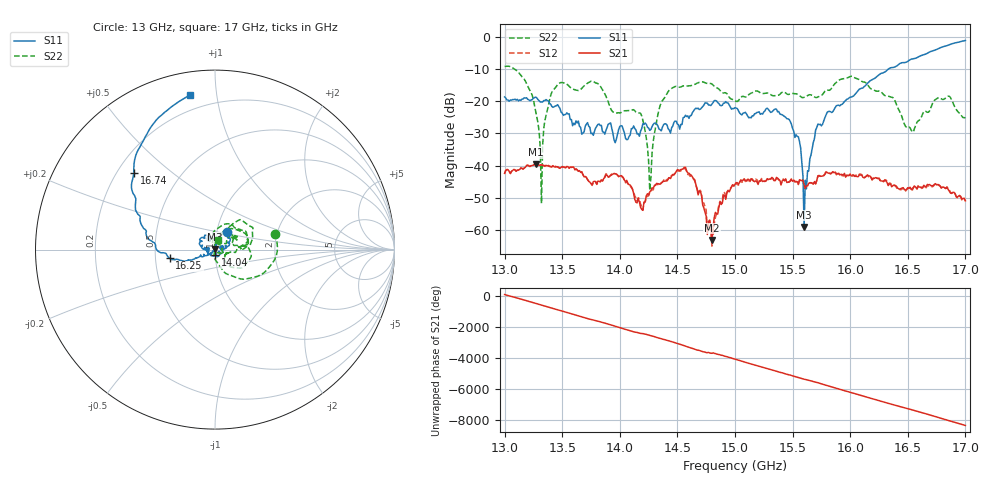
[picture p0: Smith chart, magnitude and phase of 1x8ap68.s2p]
!Keysight Technologies,P9374A,MY57211807,A.19.30.04
!Date: Friday, May 08, 2026 15:02:18
!Correction: S11(C  2-Port  )
!S21(C  2-Port  )
!S12(C  2-Port  )
!S22(C  2-Port  )
!S2P File: Measurements: S11, S21, S12, S22:
# Hz S  dB  R 50
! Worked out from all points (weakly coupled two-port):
!   401 points, 13 GHz to 17 GHz, reference 50 ohm
!   highest |S21| = -39.57 dB at 13.27 GHz (marker M1); lowest = -63.0 dB at 14.8 GHz (marker M2)
!   lowest |S11| = -59.0 dB at 15.6 GHz (marker M3), VSWR 1.00, Z = 50 + j0.112 ohm
!   |S11| at or under -10 dB: start of sweep to 16.33 GHz
!   |S22| runs from -51.7 to -9.2 dB; largest |S21 - S12| = 0.0008
!   S11 on the Smith chart (normalised r, x): 13 GHz: 1.11, +0.22; 14.04 GHz: 1.00, -0.06; 16.25 GHz: 0.60, -0.06; 16.74 GHz: 0.27, +0.37; 17 GHz: 0.12, +0.85
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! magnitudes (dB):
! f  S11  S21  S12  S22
! 13 GHz  -18.7  -42.4  -42.4  -9.3
! 13.27 GHz  -18.7  -39.6  -39.5  -23.2
! 13.32 GHz  -20.3  -39.8  -39.7  -51.7
! 13.43 GHz  -21.7  -40.4  -40.3  -16.3
! 13.67 GHz  -30.3  -42.0  -41.9  -16.0
! 14.04 GHz  -29.9  -44.5  -44.6  -23.0
! 14.19 GHz  -28.5  -53.6  -52.8  -24.6
! 14.26 GHz  -29.1  -48.1  -48.3  -47.6
! 14.34 GHz  -28.6  -45.7  -45.6  -22.7
! 14.58 GHz  -24.8  -41.7  -41.9  -15.3
! 14.8 GHz  -20.9  -63.0  -65.0  -14.7
! 15 GHz  -22.0  -45.8  -45.9  -19.8
! 15.46 GHz  -25.5  -45.1  -45.1  -17.9
! 15.55 GHz  -31.0  -45.7  -45.9  -18.0
! 15.6 GHz  -59.0  -45.9  -46.2  -18.8
! 15.67 GHz  -34.7  -45.5  -45.4  -18.2
! 15.8 GHz  -23.4  -42.1  -41.9  -16.5
! 16.25 GHz  -11.8  -44.0  -43.9  -16.9
! 16.34 GHz  -9.8  -45.7  -45.4  -18.6
! 16.54 GHz  -6.9  -47.5  -47.0  -29.6
! 16.74 GHz  -4.1  -45.6  -45.8  -19.5
! 17 GHz  -1.2  -50.9  -51.0  -25.2
